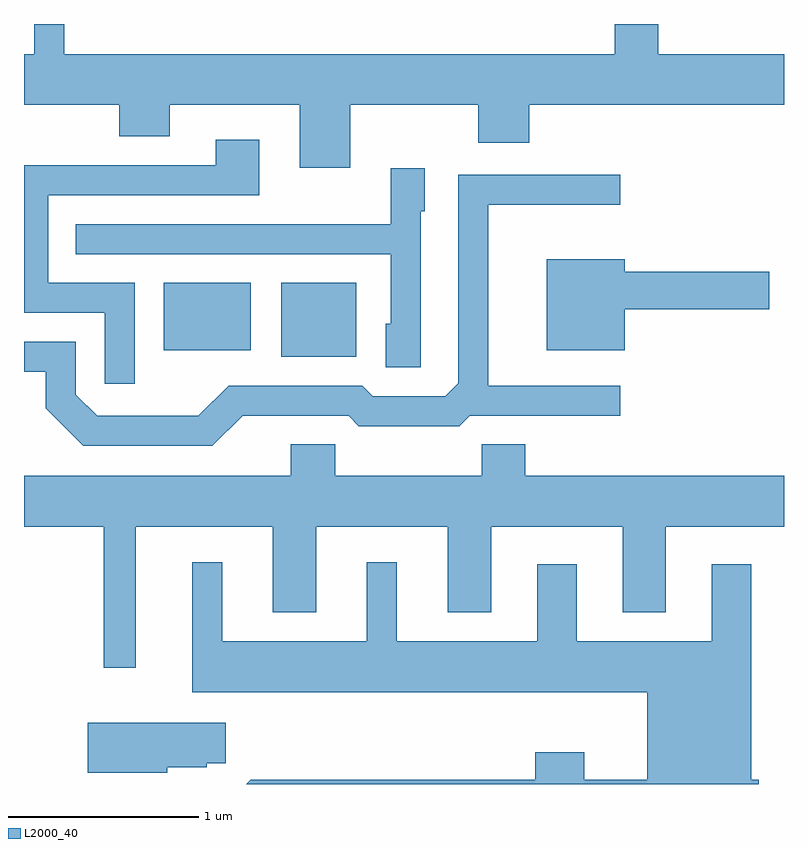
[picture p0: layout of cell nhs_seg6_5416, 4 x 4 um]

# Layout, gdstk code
import gdstk
lib = gdstk.Library(unit=1e-6, precision=1e-09)
def R(c, l, rs):  # rectangles x0, y0, x1, y1
    for r in rs: c.add(gdstk.rectangle(r[:2], r[2:], *l))
def P(c, l, *ps):  # polygons
    for p in ps: c.add(gdstk.Polygon(p, *l))
L2000_40 = (2000, 40)

nhs_seg6_5416 = lib.new_cell('nhs_seg6_5416')
R(nhs_seg6_5416, L2000_40, [(350.966,1626.411,351.359,1626.799), (350.346,1626.446,350.804,1626.799), (350.37,1628.161,351.264,1628.162)])
P(nhs_seg6_5416, L2000_40, [(351.329,1627.736),(352.001,1627.736),(352.001,1627.536),(352.269,1627.536),(352.269,1627.736),(353.611,1627.736),(353.611,1628.004),(352.949,1628.004),(352.949,1628.162),(352.721,1628.162),(352.721,1628.004),(349.824,1628.004),(349.824,1628.162),(349.666,1628.162),(349.666,1628.004),(349.611,1628.004),(349.611,1627.736),(350.111,1627.736),(350.111,1627.571),(350.379,1627.571),(350.379,1627.736),(351.061,1627.736),(351.061,1627.406),(351.329,1627.406)],
  [(350.194,1626.799),(349.739,1626.799),(349.739,1627.261),(350.849,1627.261),(350.849,1627.554),(350.621,1627.554),(350.621,1627.419),(349.611,1627.419),(349.611,1626.641),(350.036,1626.641),(350.036,1626.268),(350.194,1626.268)],
  [(351.699,1627.176),(351.719,1627.176),(351.719,1627.404),(351.541,1627.404),(351.541,1627.109),(349.883,1627.109),(349.883,1626.951),(351.541,1626.951),(351.541,1626.584),(351.516,1626.584),(351.516,1626.356),(351.699,1626.356)],
  [(350.762,1626.101),(351.319,1626.101),(351.374,1626.046),(351.902,1626.046),(351.957,1626.101),(352.748,1626.101),(352.748,1626.259),(352.054,1626.259),(352.054,1627.211),(352.748,1627.211),(352.748,1627.369),(351.896,1627.369),(351.896,1626.272),(351.829,1626.204),(351.447,1626.204),(351.392,1626.259),(350.689,1626.259),(350.529,1626.099),(349.997,1626.099),(349.884,1626.212),(349.884,1626.489),(349.611,1626.489),(349.611,1626.331),(349.726,1626.331),(349.726,1626.139),(349.924,1625.941),(350.602,1625.941)],
  [(352.774,1626.661),(353.534,1626.661),(353.534,1626.859),(352.774,1626.859),(352.774,1626.924),(352.361,1626.924),(352.361,1626.446),(352.774,1626.446)],
  [(350.199,1625.516),(350.921,1625.516),(350.921,1625.066),(351.149,1625.066),(351.149,1625.516),(351.841,1625.516),(351.841,1625.066),(352.069,1625.066),(352.069,1625.516),(352.761,1625.516),(352.761,1625.066),(352.989,1625.066),(352.989,1625.516),(353.611,1625.516),(353.611,1625.784),(352.249,1625.784),(352.249,1625.949),(352.021,1625.949),(352.021,1625.784),(351.249,1625.784),(351.249,1625.949),(351.016,1625.949),(351.016,1625.784),(349.611,1625.784),(349.611,1625.516),(350.031,1625.516),(350.031,1624.773),(350.199,1624.773)],
  [(353.479,1624.184),(353.439,1624.184),(353.439,1625.319),(353.231,1625.319),(353.231,1624.914),(352.519,1624.914),(352.519,1625.319),(352.311,1625.319),(352.311,1624.914),(351.574,1624.914),(351.574,1625.328),(351.416,1625.328),(351.416,1624.914),(350.654,1624.914),(350.654,1625.328),(350.496,1625.328),(350.496,1624.646),(352.891,1624.646),(352.891,1624.184),(352.559,1624.184),(352.559,1624.329),(352.301,1624.329),(352.301,1624.184),(350.804,1624.184),(350.782,1624.162),(353.479,1624.162)],
  [(350.364,1624.251),(350.574,1624.251),(350.574,1624.271),(350.674,1624.271),(350.674,1624.484),(349.946,1624.484),(349.946,1624.221),(350.364,1624.221)])

lib.write_gds('nhs_seg6_5416.gds')
